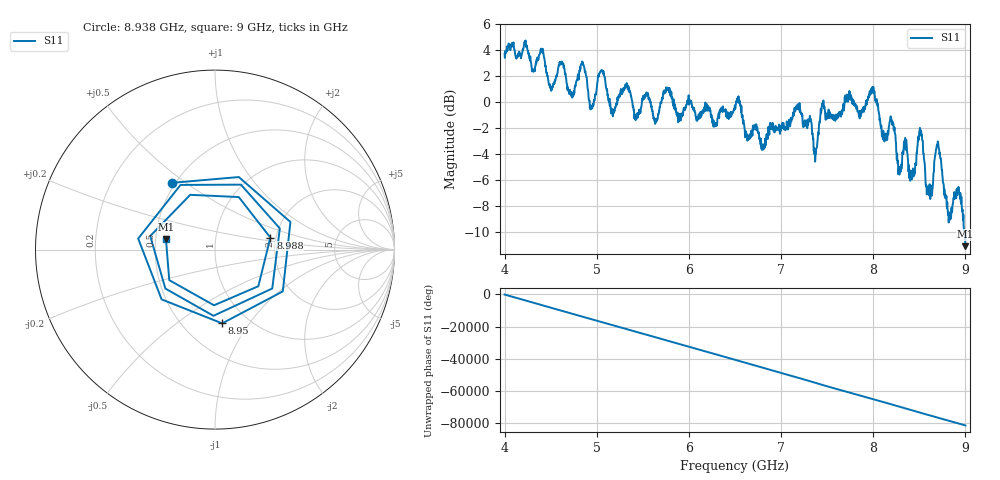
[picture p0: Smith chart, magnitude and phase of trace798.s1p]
! Created with skrf 1.8.0 (http://scikit-rf.org).
# Hz S RI R 50.0
!freq ReS11 ImS11
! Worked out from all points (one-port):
!   1601 points, 4 GHz to 9 GHz, reference 50 ohm
!   lowest |S11| = -11.1 dB at 9 GHz (marker M1), VSWR 1.77, Z = 28.4 + j3.47 ohm
!   |S11| at or under -10 dB: 8.987552 GHz to end of sweep
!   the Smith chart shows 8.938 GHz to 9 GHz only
!   S11 on the Smith chart (normalised r, x): 8.938 GHz: 0.48, +0.45; 8.95 GHz: 0.76, -0.75; 8.988 GHz: 1.86, +0.28; 9 GHz: 0.57, +0.07
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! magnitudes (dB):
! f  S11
! 4 GHz  3.7
! 4.403 GHz  4.1
! 4.503 GHz  1.1
! 4.625 GHz  3.0
! 4.725 GHz  0.5
! 4.853 GHz  2.9
! 4.941 GHz  -0.4
! 5.047 GHz  2.5
! 5.166 GHz  -0.7
! 5.25 GHz  0.6
! 5.875 GHz  -0.8
! 6.5 GHz  -0.2
! 6.8 GHz  -3.6
! 7.125 GHz  -1.1
! 7.372 GHz  -4.4
! 7.45 GHz  -0.1
! 7.75 GHz  0.2
! 7.991 GHz  1.2
! 8.281 GHz  -5.0
! 8.375 GHz  -4.3
! 8.512 GHz  -2.2
! 8.594 GHz  -7.0
! 8.7 GHz  -3.0
! 8.822 GHz  -8.7
! 8.938 GHz  -7.1
! 8.95 GHz  -7.7
! 8.988 GHz  -10.0
! 9 GHz  -11.1
